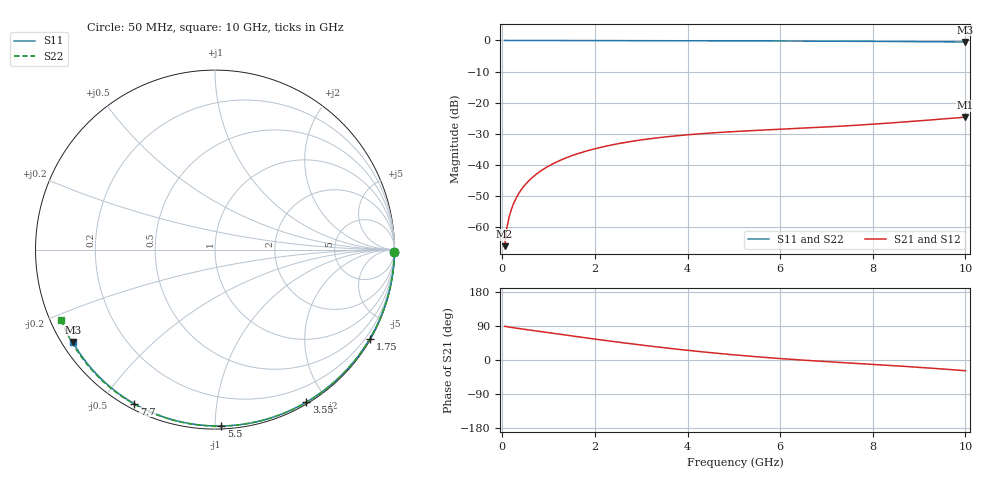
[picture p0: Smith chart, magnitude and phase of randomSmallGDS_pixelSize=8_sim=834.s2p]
! freq	dB(S11)	phase(S11)	dB(S12)	phase(S12)
!  dB(S21)	phase(S21)	dB(S22)	phase(S22)
!S-par simulation data
#  GHz  S  DB  R 50
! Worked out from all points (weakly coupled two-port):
!   200 points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, 50 MHz to 10 GHz, reference 50 ohm
!   highest |S21| = -24.61 dB at 10 GHz (marker M1); lowest = -66.0 dB at 50 MHz (marker M2)
!   lowest |S11| = -0.5 dB at 10 GHz (marker M3), VSWR 35.24, Z = 1.54 - j14.8 ohm
!   |S11| at or under -10 dB: nowhere
!   |S22| runs from -0.5 to 0.0 dB; largest |S21 - S12| = 0
!   S11 on the Smith chart (normalised r, x): 50 MHz: open; 1.75 GHz: 0.03, -3.74; 3.55 GHz: 0.02, -1.77; 5.5 GHz: 0.02, -1.04; 7.7 GHz: 0.02, -0.60; 10 GHz: 0.03, -0.30
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0.05  -0.00 -0.9  -66.01 88.9  -66.01 88.9  -0.00 -0.9
0.1  -0.00 -1.7  -60.00 87.8  -60.00 87.8  -0.00 -1.8
0.15  -0.00 -2.6  -56.50 86.8  -56.50 86.8  -0.00 -2.8
0.2  -0.00 -3.5  -54.03 85.9  -54.03 85.9  -0.00 -3.7
0.25  -0.00 -4.4  -52.11 84.9  -52.11 84.9  -0.00 -4.6
0.35  -0.00 -6.1  -49.23 83.2  -49.23 83.2  -0.00 -6.5
0.5  -0.01 -8.7  -46.18 80.6  -46.18 80.6  -0.01 -9.2
0.7  -0.01 -12.1  -43.32 77.2  -43.32 77.2  -0.01 -12.9
1  -0.02 -17.3  -40.31 72.0  -40.31 72.0  -0.02 -18.3
1.35  -0.03 -23.2  -37.83 66.0  -37.83 66.0  -0.03 -24.6
1.75  -0.04 -29.9  -35.77 59.3  -35.77 59.3  -0.04 -31.7
2.5  -0.06 -42.3  -33.13 47.2  -33.13 47.2  -0.06 -44.8
3.4  -0.08 -56.7  -31.16 33.7  -31.16 33.7  -0.08 -60.0
3.55  -0.08 -59.0  -30.91 31.6  -30.91 31.6  -0.09 -62.4
4.3  -0.10 -70.5  -29.91 21.8  -29.91 21.8  -0.11 -74.5
5.05  -0.13 -81.5  -29.20 13.1  -29.20 13.1  -0.13 -86.1
5.5  -0.15 -88.0  -28.85 8.5  -28.85 8.5  -0.15 -92.9
6.7  -0.21 -104.5  -27.99 -2.0  -27.99 -2.0  -0.22 -110.2
7.7  -0.27 -117.7  -27.16 -9.4  -27.16 -9.4  -0.28 -124.1
8.35  -0.32 -126.0  -26.51 -14.2  -26.51 -14.2  -0.34 -133.0
9.2  -0.40 -136.8  -25.56 -21.1  -25.56 -21.1  -0.42 -144.5
10  -0.49 -147.0  -24.61 -28.2  -24.61 -28.2  -0.52 -155.4
